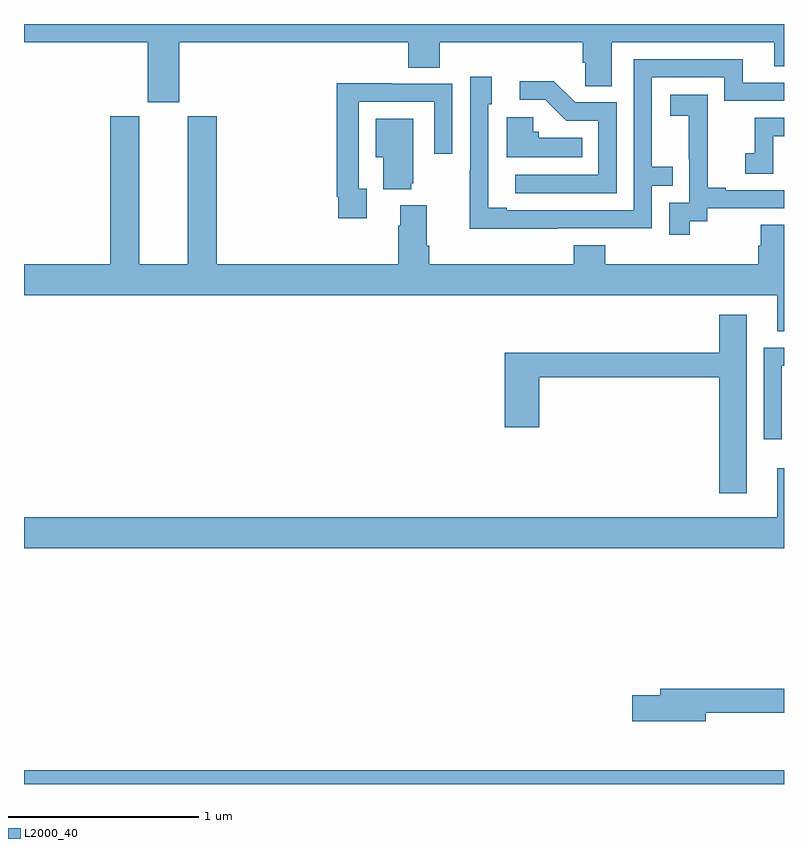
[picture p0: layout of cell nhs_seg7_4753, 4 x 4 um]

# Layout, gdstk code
import gdstk
lib = gdstk.Library(unit=1e-6, precision=1e-09)
def R(c, l, rs):  # rectangles x0, y0, x1, y1
    for r in rs: c.add(gdstk.rectangle(r[:2], r[2:], *l))
def P(c, l, *ps):  # polygons
    for p in ps: c.add(gdstk.Polygon(p, *l))
L2000_40 = (2000, 40)

nhs_seg7_4753 = lib.new_cell('nhs_seg7_4753')
R(nhs_seg7_4753, L2000_40, [(409,1042,413,1042.072)])
P(nhs_seg7_4753, L2000_40, [(409.816,1045.904),(411.023,1045.904),(411.023,1045.771),(411.188,1045.771),(411.188,1045.904),(411.941,1045.904),(411.941,1045.795),(411.954,1045.795),(411.954,1045.672),(412.093,1045.672),(412.093,1045.904),(412.949,1045.904),(412.949,1045.777),(413,1045.777),(413,1046),(409,1046),(409,1045.904),(409.652,1045.904),(409.652,1045.587),(409.816,1045.587)],
  [(411.809,1044.924),(412.305,1044.924),(412.305,1045.149),(412.415,1045.149),(412.415,1045.25),(412.305,1045.25),(412.305,1045.719),(412.686,1045.719),(412.686,1045.596),(413,1045.596),(413,1045.692),(412.783,1045.692),(412.783,1045.815),(412.209,1045.815),(412.209,1045.02),(411.541,1045.02),(411.541,1045.033),(411.444,1045.033),(411.444,1045.578),(411.463,1045.578),(411.463,1045.723),(411.348,1045.723),(411.348,1045.229),(411.346,1045.229),(411.346,1044.923),(411.809,1044.923)],
  [(412.119,1045.587),(411.9,1045.587),(411.787,1045.7),(411.609,1045.7),(411.609,1045.602),(411.743,1045.602),(411.854,1045.491),(412.023,1045.491),(412.023,1045.206),(411.585,1045.206),(411.585,1045.11),(412.119,1045.11)],
  [(410.803,1045.134),(410.763,1045.134),(410.763,1045.59),(411.159,1045.59),(411.159,1045.317),(411.255,1045.317),(411.255,1045.686),(410.939,1045.686),(410.939,1045.688),(410.647,1045.688),(410.647,1045.09),(410.655,1045.09),(410.655,1044.978),(410.803,1044.978)],
  [(412.504,1044.961),(412.596,1044.961),(412.596,1045.029),(413,1045.029),(413,1045.125),(412.693,1045.125),(412.693,1045.138),(412.598,1045.138),(412.598,1045.421),(412.599,1045.421),(412.599,1045.627),(412.401,1045.627),(412.401,1045.517),(412.499,1045.517),(412.499,1045.289),(412.5,1045.289),(412.5,1045.059),(412.395,1045.059),(412.395,1044.891),(412.504,1044.891)],
  [(413,1044.944),(412.877,1044.944),(412.877,1044.834),(412.865,1044.834),(412.865,1044.736),(412.058,1044.736),(412.058,1044.835),(411.893,1044.835),(411.893,1044.736),(411.134,1044.736),(411.134,1044.832),(411.121,1044.832),(411.121,1045.045),(410.981,1045.045),(410.981,1044.938),(410.969,1044.938),(410.969,1044.736),(410.015,1044.736),(410.015,1045.515),(409.862,1045.515),(409.862,1044.736),(409.606,1044.736),(409.606,1045.515),(409.454,1045.515),(409.454,1044.736),(409,1044.736),(409,1044.572),(412.964,1044.572),(412.964,1044.382),(413,1044.382)],
  [(411.938,1045.402),(411.708,1045.402),(411.708,1045.434),(411.681,1045.434),(411.681,1045.51),(411.542,1045.51),(411.542,1045.298),(411.938,1045.298)],
  [(412.944,1045.41),(413,1045.41),(413,1045.506),(412.846,1045.506),(412.846,1045.321),(412.797,1045.321),(412.797,1045.212),(412.944,1045.212)],
  [(411.038,1045.161),(411.049,1045.161),(411.049,1045.501),(410.852,1045.501),(410.852,1045.298),(410.891,1045.298),(410.891,1045.13),(411.038,1045.13)],
  [(412.804,1044.469),(412.658,1044.469),(412.658,1044.271),(411.53,1044.271),(411.53,1043.877),(411.713,1043.877),(411.713,1044.142),(412.658,1044.142),(412.658,1043.529),(412.804,1043.529)],
  [(412.989,1044.201),(413,1044.201),(413,1044.297),(412.893,1044.297),(412.893,1043.814),(412.989,1043.814)],
  [(413,1043.662),(412.964,1043.662),(412.964,1043.404),(409,1043.404),(409,1043.24),(413,1043.24)],
  [(412.588,1042.374),(413,1042.374),(413,1042.502),(412.349,1042.502),(412.349,1042.466),(412.2,1042.466),(412.2,1042.331),(412.588,1042.331)])

lib.write_gds('nhs_seg7_4753.gds')
